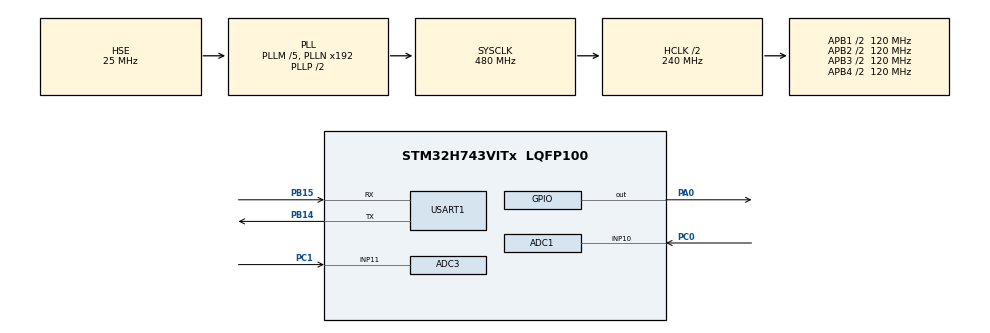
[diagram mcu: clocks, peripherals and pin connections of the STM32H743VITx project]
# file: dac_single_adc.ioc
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ADC1.Channel-0\#ChannelRegularConversion=ADC_CHANNEL_10
ADC1.ConversionDataManagement=ADC_CONVERSIONDATA_DMA_CIRCULAR
ADC1.EOCSelection=ADC_EOC_SINGLE_CONV
ADC1.ExternalTrigConv=ADC_EXTERNALTRIG_T15_TRGO
ADC1.NbrOfConversionFlag=1
ADC1.OffsetNumber-0\#ChannelRegularConversion=ADC_OFFSET_NONE
ADC1.OffsetSignedSaturation-0\#ChannelRegularConversion=DISABLE
ADC1.Rank-0\#ChannelRegularConversion=1
ADC1.SamplingTime-0\#ChannelRegularConversion=ADC_SAMPLETIME_1CYCLE_5
ADC1.master=1
ADC3.Channel-0\#ChannelRegularConversion=ADC_CHANNEL_11
ADC3.ConversionDataManagement=ADC_CONVERSIONDATA_DMA_CIRCULAR
ADC3.ExternalTrigConv=ADC_EXTERNALTRIG_T15_TRGO
ADC3.NbrOfConversion=1
ADC3.NbrOfConversionFlag=1
ADC3.OffsetNumber-0\#ChannelRegularConversion=ADC_OFFSET_NONE
ADC3.OffsetSignedSaturation-0\#ChannelRegularConversion=DISABLE
ADC3.Rank-0\#ChannelRegularConversion=1
ADC3.SamplingTime-0\#ChannelRegularConversion=ADC_SAMPLETIME_1CYCLE_5
CORTEX_M7.AccessPermission-Cortex_Memory_Protection_Unit_Region0_Settings=MPU_REGION_FULL_ACCESS
CORTEX_M7.AccessPermission-Cortex_Memory_Protection_Unit_Region1_Settings=MPU_REGION_FULL_ACCESS
CORTEX_M7.AccessPermission-Cortex_Memory_Protection_Unit_Region2_Settings=MPU_REGION_FULL_ACCESS
CORTEX_M7.AccessPermission-Cortex_Memory_Protection_Unit_Region3_Settings=MPU_REGION_FULL_ACCESS
CORTEX_M7.AccessPermission-Cortex_Memory_Protection_Unit_Region4_Settings=MPU_REGION_FULL_ACCESS
CORTEX_M7.BaseAddress-Cortex_Memory_Protection_Unit_Region0_Settings=0x24000000
CORTEX_M7.BaseAddress-Cortex_Memory_Protection_Unit_Region1_Settings=0x30000000
CORTEX_M7.BaseAddress-Cortex_Memory_Protection_Unit_Region2_Settings=0x30020000
CORTEX_M7.BaseAddress-Cortex_Memory_Protection_Unit_Region3_Settings=0x30040000
CORTEX_M7.BaseAddress-Cortex_Memory_Protection_Unit_Region4_Settings=0x38000000
CORTEX_M7.CPU_DCache=Enabled
CORTEX_M7.CPU_ICache=Enabled
CORTEX_M7.Enable-Cortex_Memory_Protection_Unit_Region0_Settings=MPU_REGION_ENABLE
CORTEX_M7.Enable-Cortex_Memory_Protection_Unit_Region1_Settings=MPU_REGION_ENABLE
CORTEX_M7.Enable-Cortex_Memory_Protection_Unit_Region2_Settings=MPU_REGION_ENABLE
CORTEX_M7.Enable-Cortex_Memory_Protection_Unit_Region3_Settings=MPU_REGION_ENABLE
CORTEX_M7.Enable-Cortex_Memory_Protection_Unit_Region4_Settings=MPU_REGION_ENABLE
CORTEX_M7.IsBufferable-Cortex_Memory_Protection_Unit_Region0_Settings=MPU_ACCESS_BUFFERABLE
CORTEX_M7.IsCacheable-Cortex_Memory_Protection_Unit_Region0_Settings=MPU_ACCESS_CACHEABLE
CORTEX_M7.MPU_Control=MPU_PRIVILEGED_DEFAULT
CORTEX_M7.Size-Cortex_Memory_Protection_Unit_Region0_Settings=MPU_REGION_SIZE_512KB
CORTEX_M7.Size-Cortex_Memory_Protection_Unit_Region1_Settings=MPU_REGION_SIZE_128KB
CORTEX_M7.Size-Cortex_Memory_Protection_Unit_Region2_Settings=MPU_REGION_SIZE_128KB
CORTEX_M7.Size-Cortex_Memory_Protection_Unit_Region3_Settings=MPU_REGION_SIZE_32KB
CORTEX_M7.Size-Cortex_Memory_Protection_Unit_Region4_Settings=MPU_REGION_SIZE_64KB
CORTEX_M7.TypeExtField-Cortex_Memory_Protection_Unit_Region0_Settings=MPU_TEX_LEVEL1
CORTEX_M7.TypeExtField-Cortex_Memory_Protection_Unit_Region1_Settings=MPU_TEX_LEVEL1
CORTEX_M7.TypeExtField-Cortex_Memory_Protection_Unit_Region2_Settings=MPU_TEX_LEVEL1
CORTEX_M7.TypeExtField-Cortex_Memory_Protection_Unit_Region3_Settings=MPU_TEX_LEVEL1
CORTEX_M7.TypeExtField-Cortex_Memory_Protection_Unit_Region4_Settings=MPU_TEX_LEVEL1
Dma.ADC1.0.Direction=DMA_PERIPH_TO_MEMORY
Dma.ADC1.0.EventEnable=DISABLE
Dma.ADC1.0.FIFOMode=DMA_FIFOMODE_DISABLE
Dma.ADC1.0.Instance=DMA1_Stream0
Dma.ADC1.0.MemDataAlignment=DMA_MDATAALIGN_HALFWORD
Dma.ADC1.0.MemInc=DMA_MINC_ENABLE
Dma.ADC1.0.Mode=DMA_NORMAL
Dma.ADC1.0.PeriphDataAlignment=DMA_PDATAALIGN_HALFWORD
Dma.ADC1.0.PeriphInc=DMA_PINC_DISABLE
Dma.ADC1.0.Polarity=HAL_DMAMUX_REQ_GEN_RISING
Dma.ADC1.0.Priority=DMA_PRIORITY_LOW
Dma.ADC1.0.RequestNumber=1
Dma.ADC1.0.SignalID=NONE
Dma.ADC1.0.SyncEnable=DISABLE
Dma.ADC1.0.SyncPolarity=HAL_DMAMUX_SYNC_NO_EVENT
Dma.ADC1.0.SyncRequestNumber=1
Dma.ADC1.0.SyncSignalID=NONE
Dma.ADC3.1.Direction=DMA_PERIPH_TO_MEMORY
Dma.ADC3.1.EventEnable=DISABLE
Dma.ADC3.1.FIFOMode=DMA_FIFOMODE_DISABLE
Dma.ADC3.1.Instance=DMA1_Stream2
Dma.ADC3.1.MemDataAlignment=DMA_MDATAALIGN_HALFWORD
Dma.ADC3.1.MemInc=DMA_MINC_ENABLE
Dma.ADC3.1.Mode=DMA_NORMAL
Dma.ADC3.1.PeriphDataAlignment=DMA_PDATAALIGN_HALFWORD
Dma.ADC3.1.PeriphInc=DMA_PINC_DISABLE
Dma.ADC3.1.Polarity=HAL_DMAMUX_REQ_GEN_RISING
Dma.ADC3.1.Priority=DMA_PRIORITY_LOW
Dma.ADC3.1.RequestNumber=1
Dma.ADC3.1.SignalID=NONE
Dma.ADC3.1.SyncEnable=DISABLE
Dma.ADC3.1.SyncPolarity=HAL_DMAMUX_SYNC_NO_EVENT
Dma.ADC3.1.SyncRequestNumber=1
Dma.ADC3.1.SyncSignalID=NONE
Dma.Request0=ADC1
Dma.Request1=ADC3
Mcu.Family=STM32H7
Mcu.Name=STM32H743VITx
Mcu.Package=LQFP100
NVIC.DMA1_Stream0_IRQn=true\:0\:0\:false\:false\:true\:false\:true\:true
NVIC.DMA1_Stream2_IRQn=true\:0\:0\:false\:false\:true\:false\:true\:true
NVIC.PriorityGroup=NVIC_PRIORITYGROUP_4
PA0.GPIO_PuPd=GPIO_PULLDOWN
PA0.PinState=GPIO_PIN_RESET
PA0.Signal=GPIO_Output
PA13\ (JTMS/SWDIO).Mode=Serial_Wire
PA13\ (JTMS/SWDIO).Signal=DEBUG_JTMS-SWDIO
PA14\ (JTCK/SWCLK).Mode=Serial_Wire
PA14\ (JTCK/SWCLK).Signal=DEBUG_JTCK-SWCLK
PB14.Mode=Asynchronous
PB14.Signal=USART1_TX
PB15.Mode=Asynchronous
PB15.Signal=USART1_RX
PC0.Signal=ADCx_INP10
PC1.Signal=ADCx_INP11
PH0-OSC_IN\ (PH0).Mode=HSE-External-Oscillator
PH0-OSC_IN\ (PH0).Signal=RCC_OSC_IN
PH1-OSC_OUT\ (PH1).Mode=HSE-External-Oscillator
PH1-OSC_OUT\ (PH1).Signal=RCC_OSC_OUT
ProjectManager.HeapSize=0x200
ProjectManager.StackSize=0x7400
ProjectManager.TargetToolchain=MDK-ARM V5.32
RCC.ADCFreq_Value=72000000
RCC.APB1Freq_Value=120000000
RCC.APB2Freq_Value=120000000
RCC.APB3Freq_Value=120000000
RCC.APB4Freq_Value=120000000
RCC.CortexFreq_Value=480000000
RCC.D1PPRE=RCC_APB3_DIV2
RCC.D2PPRE1=RCC_APB1_DIV2
RCC.D2PPRE2=RCC_APB2_DIV2
RCC.D3PPRE=RCC_APB4_DIV2
RCC.DIVM1=5
RCC.DIVM2=25
RCC.DIVN1=192
RCC.DIVN2=360
RCC.DIVP2=5
RCC.HCLKFreq_Value=240000000
RCC.HPRE=RCC_HCLK_DIV2
RCC.HSE_VALUE=25000000
RCC.PLLSourceVirtual=RCC_PLLSOURCE_HSE
RCC.PWR_Regulator_Voltage_Scale=PWR_REGULATOR_VOLTAGE_SCALE0
RCC.ProductRev=revV
RCC.SYSCLKFreq_VALUE=480000000
RCC.SYSCLKSource=RCC_SYSCLKSOURCE_PLLCLK
RCC.USBFreq_Value=480000000
SH.ADCx_INP10.0=ADC1_INP10,IN10-Single-Ended
SH.ADCx_INP11.0=ADC3_INP11,IN11-Single-Ended
TIM15.Period=0
TIM15.Prescaler=239
TIM15.TIM_MasterOutputTrigger=TIM_TRGO_UPDATE
TIM7.Prescaler=239
USART1.VirtualMode-Asynchronous=VM_ASYNC
VP_TIM15_VS_ClockSourceINT.Mode=Internal
VP_TIM7_VS_ClockSourceINT.Mode=Enable_Timer
board=custom

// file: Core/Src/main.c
/* USER CODE BEGIN Header */
/**
  ******************************************************************************
  * @file           : main.c
  * @brief          : Main program body
  ******************************************************************************
  * @attention
  *
  * Copyright (c) 2023 STMicroelectronics.
  * All rights reserved.
  *
  * This software is licensed under terms that can be found in the LICENSE file
  * in the root directory of this software component.
  * If no LICENSE file comes with this software, it is provided AS-IS.
  *
  ******************************************************************************
  */
/* USER CODE END Header */
#include "main.h"
#include "adc.h"
#include "dma.h"
#include "tim.h"
#include "usart.h"
#include "gpio.h"

/* USER CODE BEGIN PTD */
ALIGN_32BYTES (uint16_t adc1_data[FFT_LENGTH]) 	__attribute__((section(".ARM.__at_0x30000000")));
ALIGN_32BYTES (uint16_t adc3_data[FFT_LENGTH]) 	__attribute__((section(".ARM.__at_0x30020000")));
__IO uint8_t AdcConvEnd = 0;//表示adc采集完成

void adc_init(void)
{
	printf("start_adc\n");
	MX_ADC1_Init();	//初始化调用放这里, 确保在MX_DMA_Init()初始化后面
	HAL_Delay(100);	//有地方说这里可以等等电压稳定后再校准

	if (HAL_ADCEx_Calibration_Start(&hadc1, ADC_CALIB_OFFSET, ADC_SINGLE_ENDED) != HAL_OK)
	{
			printf("hadc1 error with HAL_ADCEx_Calibration_Start\r\n");
			Error_Handler();
	}

	if (HAL_ADC_Start_DMA(&hadc1, (uint32_t *)adc1_data, FFT_LENGTH) != HAL_OK)
	{
			printf("hadc1 error with HAL_ADC_Start_DMA\r\n");
			Error_Handler();
	}

	HAL_TIM_Base_Start(&htim15);
	while (!AdcConvEnd);
	AdcConvEnd = 0;
	HAL_ADC_DeInit(&hadc1);
	HAL_TIM_Base_Stop(&htim15);
}

void adc3_init(void)
{
	MX_ADC3_Init();	//初始化调用放这里, 确保在MX_DMA_Init()初始化后面
	HAL_Delay(100);	//有地方说这里可以等等电压稳定后再校准

	if (HAL_ADCEx_Calibration_Start(&hadc3, ADC_CALIB_OFFSET, ADC_SINGLE_ENDED) != HAL_OK)
	{
			printf("hadc1 error with HAL_ADCEx_Calibration_Start\r\n");
			Error_Handler();
	}

	if (HAL_ADC_Start_DMA(&hadc3, (uint32_t *)adc3_data, FFT_LENGTH) != HAL_OK)
	{
			printf("hadc3 error with HAL_ADC_Start_DMA\r\n");
			Error_Handler();
	}

	HAL_TIM_Base_Start(&htim15);
	while (!AdcConvEnd);
	AdcConvEnd = 0;
	HAL_ADC_DeInit(&hadc3);
	HAL_TIM_Base_Stop(&htim15);
}

void double_adc(void)
{
	MX_ADC1_Init();
	MX_ADC3_Init();	//初始化调用放这里, 确保在MX_DMA_Init()初始化后面
	HAL_Delay(100);	//有地方说这里可以等等电压稳定后再校准
	if (HAL_ADCEx_Calibration_Start(&hadc1, ADC_CALIB_OFFSET, ADC_SINGLE_ENDED) != HAL_OK)
	{
			printf("hadc1 error with HAL_ADCEx_Calibration_Start\r\n");
			Error_Handler();
	}

	if (HAL_ADC_Start_DMA(&hadc1, (uint32_t *)adc1_data, FFT_LENGTH) != HAL_OK)
	{
			printf("hadc1 error with HAL_ADC_Start_DMA\r\n");
			Error_Handler();
	}
	if (HAL_ADCEx_Calibration_Start(&hadc3, ADC_CALIB_OFFSET, ADC_SINGLE_ENDED) != HAL_OK)
	{
			printf("hadc1 error with HAL_ADCEx_Calibration_Start\r\n");
			Error_Handler();
	}

	if (HAL_ADC_Start_DMA(&hadc3, (uint32_t *)adc3_data, FFT_LENGTH) != HAL_OK)
	{
			printf("hadc3 error with HAL_ADC_Start_DMA\r\n");
			Error_Handler();
	}

	HAL_TIM_Base_Start(&htim15);
	while (!AdcConvEnd);
	AdcConvEnd = 0;
	HAL_ADC_DeInit(&hadc1);
	HAL_ADC_DeInit(&hadc3);
	HAL_TIM_Base_Stop(&htim15);
}

/* USER CODE END PTD */

/* USER CODE BEGIN PM */
//void SineWave()
//{
//    uint16_t i;
//    for( i=0;i<200;i++)
//    {
//  		Dat[i]=(uint16_t)((int16_t)(2048*sin(i*2*3.1415926/200))+2048);
////			Dat[i] = 4095;
//    }
////	Dat[0] = 0;
////	Dat[1] = 4095;
//}
/* USER CODE END PM */

void SystemClock_Config(void);
void PeriphCommonClock_Config(void);
static void MPU_Initialize(void);
static void MPU_Config(void);

int main(void)
{

  /* Enable I-Cache---------------------------------------------------------*/
  SCB_EnableICache();

  /* Enable D-Cache---------------------------------------------------------*/
  SCB_EnableDCache();

  /* MCU Configuration--------------------------------------------------------*/

  /* Reset of all peripherals, Initializes the Flash interface and the Systick. */
  HAL_Init();

  /* MPU Configuration--------------------------------------------------------*/
  MPU_Config();

  /* Configure the system clock */
  SystemClock_Config();

/* Configure the peripherals common clocks */
  PeriphCommonClock_Config();

  /* Initialize all configured peripherals */
  MX_GPIO_Init();
  MX_DMA_Init();
  MX_TIM7_Init();
  MX_USART1_UART_Init();
  MX_ADC1_Init();
  MX_TIM15_Init();
  MX_ADC3_Init();
  /* USER CODE BEGIN 2 */

	float voltage = 0;
//	adc_init();
//	adc3_init();
//	for (u16 temp = 0; temp< FFT_LENGTH;temp++)
//	{
//		printf("%d\r\n", adc3_data[temp]);
//	}
//	for (u16 temp = 0; temp< FFT_LENGTH;temp++)
//	{
//		printf("%d\r\n", adc1_data[temp]);
//	}
//	for (u16 temp = 0; temp< FFT_LENGTH;temp++)
//  {
//		voltage = ((float)adc1_data[temp]*3.3)/65535;
//	  printf("%f\r\n",voltage);
////		printf("%d\r\n", adc1_data[temp]);
//  }
  /* USER CODE END 2 */

  /* Infinite loop */
  /* USER CODE BEGIN WHILE */
  while (1)
  {
		adc_init();
//		double_adc();//同时初始化adc1和3
//adc1采样
		for (u16 temp = 0; temp< FFT_LENGTH;temp++)
		{
			printf("%d\r\n",adc1_data[temp]);
//			voltage = ((float)adc1_data[temp]*3.3)/65535;
//			printf("%f\r\n",voltage);
		}
//		FFT_Init();
//		FFT_DIS();
//adc3采样
//		for (u16 temp = 0; temp< FFT_LENGTH;temp++)
//		{
//			printf("%d\r\n", adc3_data[temp]);
//		}
    /* USER CODE END WHILE */

  }
}

void SystemClock_Config(void)
{
  RCC_OscInitTypeDef RCC_OscInitStruct = {0};
  RCC_ClkInitTypeDef RCC_ClkInitStruct = {0};

  /** Supply configuration update enable
  */
  HAL_PWREx_ConfigSupply(PWR_LDO_SUPPLY);

  /** Configure the main internal regulator output voltage
  */
  __HAL_PWR_VOLTAGESCALING_CONFIG(PWR_REGULATOR_VOLTAGE_SCALE1);

  while(!__HAL_PWR_GET_FLAG(PWR_FLAG_VOSRDY)) {}

  __HAL_RCC_SYSCFG_CLK_ENABLE();
  __HAL_PWR_VOLTAGESCALING_CONFIG(PWR_REGULATOR_VOLTAGE_SCALE0);

  while(!__HAL_PWR_GET_FLAG(PWR_FLAG_VOSRDY)) {}

  /** Initializes the RCC Oscillators according to the specified parameters
  * in the RCC_OscInitTypeDef structure.
  */
  RCC_OscInitStruct.OscillatorType = RCC_OSCILLATORTYPE_HSE;
  RCC_OscInitStruct.HSEState = RCC_HSE_ON;
  RCC_OscInitStruct.PLL.PLLState = RCC_PLL_ON;
  RCC_OscInitStruct.PLL.PLLSource = RCC_PLLSOURCE_HSE;
  RCC_OscInitStruct.PLL.PLLM = 5;
  RCC_OscInitStruct.PLL.PLLN = 192;
  RCC_OscInitStruct.PLL.PLLP = 2;
  RCC_OscInitStruct.PLL.PLLQ = 2;
  RCC_OscInitStruct.PLL.PLLR = 2;
  RCC_OscInitStruct.PLL.PLLRGE = RCC_PLL1VCIRANGE_2;
  RCC_OscInitStruct.PLL.PLLVCOSEL = RCC_PLL1VCOWIDE;
  RCC_OscInitStruct.PLL.PLLFRACN = 0;
  if (HAL_RCC_OscConfig(&RCC_OscInitStruct) != HAL_OK)
  {
    Error_Handler();
  }

  /** Initializes the CPU, AHB and APB buses clocks
  */
  RCC_ClkInitStruct.ClockType = RCC_CLOCKTYPE_HCLK|RCC_CLOCKTYPE_SYSCLK
                              |RCC_CLOCKTYPE_PCLK1|RCC_CLOCKTYPE_PCLK2
                              |RCC_CLOCKTYPE_D3PCLK1|RCC_CLOCKTYPE_D1PCLK1;
  RCC_ClkInitStruct.SYSCLKSource = RCC_SYSCLKSOURCE_PLLCLK;
  RCC_ClkInitStruct.SYSCLKDivider = RCC_SYSCLK_DIV1;
  RCC_ClkInitStruct.AHBCLKDivider = RCC_HCLK_DIV2;
  RCC_ClkInitStruct.APB3CLKDivider = RCC_APB3_DIV2;
  RCC_ClkInitStruct.APB1CLKDivider = RCC_APB1_DIV2;
  RCC_ClkInitStruct.APB2CLKDivider = RCC_APB2_DIV2;
  RCC_ClkInitStruct.APB4CLKDivider = RCC_APB4_DIV2;

  if (HAL_RCC_ClockConfig(&RCC_ClkInitStruct, FLASH_LATENCY_4) != HAL_OK)
  {
    Error_Handler();
  }
}

void PeriphCommonClock_Config(void)
{
  RCC_PeriphCLKInitTypeDef PeriphClkInitStruct = {0};

  /** Initializes the peripherals clock
  */
  PeriphClkInitStruct.PeriphClockSelection = RCC_PERIPHCLK_ADC;
  PeriphClkInitStruct.PLL2.PLL2M = 25;
  PeriphClkInitStruct.PLL2.PLL2N = 360;
  PeriphClkInitStruct.PLL2.PLL2P = 5;
  PeriphClkInitStruct.PLL2.PLL2Q = 2;
  PeriphClkInitStruct.PLL2.PLL2R = 2;
  PeriphClkInitStruct.PLL2.PLL2RGE = RCC_PLL2VCIRANGE_0;
  PeriphClkInitStruct.PLL2.PLL2VCOSEL = RCC_PLL2VCOWIDE;
  PeriphClkInitStruct.PLL2.PLL2FRACN = 0;
  PeriphClkInitStruct.AdcClockSelection = RCC_ADCCLKSOURCE_PLL2;
  if (HAL_RCCEx_PeriphCLKConfig(&PeriphClkInitStruct) != HAL_OK)
  {
    Error_Handler();
  }
}

/* USER CODE BEGIN 4 */
void HAL_ADC_ConvCpltCallback(ADC_HandleTypeDef* hadc)
{
   if(hadc->Instance == ADC1)
	{
      //SCB_InvalidateDCache_by_Addr((uint32_t *) &adc1_data[0], ADC1_BUFFER_SIZE);
   }
	 AdcConvEnd = 1;
}
/* USER CODE END 4 */

/* MPU Configuration */

void MPU_Config(void)
{
  MPU_Region_InitTypeDef MPU_InitStruct = {0};

  /* Disables the MPU */
  HAL_MPU_Disable();

  /** Initializes and configures the Region and the memory to be protected
  */
  MPU_InitStruct.Enable = MPU_REGION_ENABLE;
  MPU_InitStruct.Number = MPU_REGION_NUMBER0;
  MPU_InitStruct.BaseAddress = 0x24000000;
  MPU_InitStruct.Size = MPU_REGION_SIZE_512KB;
  MPU_InitStruct.SubRegionDisable = 0x0;
  MPU_InitStruct.TypeExtField = MPU_TEX_LEVEL1;
  MPU_InitStruct.AccessPermission = MPU_REGION_FULL_ACCESS;
  MPU_InitStruct.DisableExec = MPU_INSTRUCTION_ACCESS_ENABLE;
  MPU_InitStruct.IsShareable = MPU_ACCESS_NOT_SHAREABLE;
  MPU_InitStruct.IsCacheable = MPU_ACCESS_CACHEABLE;
  MPU_InitStruct.IsBufferable = MPU_ACCESS_BUFFERABLE;

  HAL_MPU_ConfigRegion(&MPU_InitStruct);

  /** Initializes and configures the Region and the memory to be protected
  */
  MPU_InitStruct.Number = MPU_REGION_NUMBER1;
  MPU_InitStruct.BaseAddress = 0x30000000;
  MPU_InitStruct.Size = MPU_REGION_SIZE_128KB;
  MPU_InitStruct.IsCacheable = MPU_ACCESS_NOT_CACHEABLE;
  MPU_InitStruct.IsBufferable = MPU_ACCESS_NOT_BUFFERABLE;

  HAL_MPU_ConfigRegion(&MPU_InitStruct);

  /** Initializes and configures the Region and the memory to be protected
  */
  MPU_InitStruct.Number = MPU_REGION_NUMBER2;
  MPU_InitStruct.BaseAddress = 0x30020000;

  HAL_MPU_ConfigRegion(&MPU_InitStruct);

  /** Initializes and configures the Region and the memory to be protected
  */
  MPU_InitStruct.Number = MPU_REGION_NUMBER3;
  MPU_InitStruct.BaseAddress = 0x30040000;
  MPU_InitStruct.Size = MPU_REGION_SIZE_32KB;

  HAL_MPU_ConfigRegion(&MPU_InitStruct);

  /** Initializes and configures the Region and the memory to be protected
  */
  MPU_InitStruct.Number = MPU_REGION_NUMBER4;
  MPU_InitStruct.BaseAddress = 0x38000000;
  MPU_InitStruct.Size = MPU_REGION_SIZE_64KB;

  HAL_MPU_ConfigRegion(&MPU_InitStruct);
  /* Enables the MPU */
  HAL_MPU_Enable(MPU_PRIVILEGED_DEFAULT);

}

void Error_Handler(void)
{
  __disable_irq();
  while (1)
  {
  }
}
